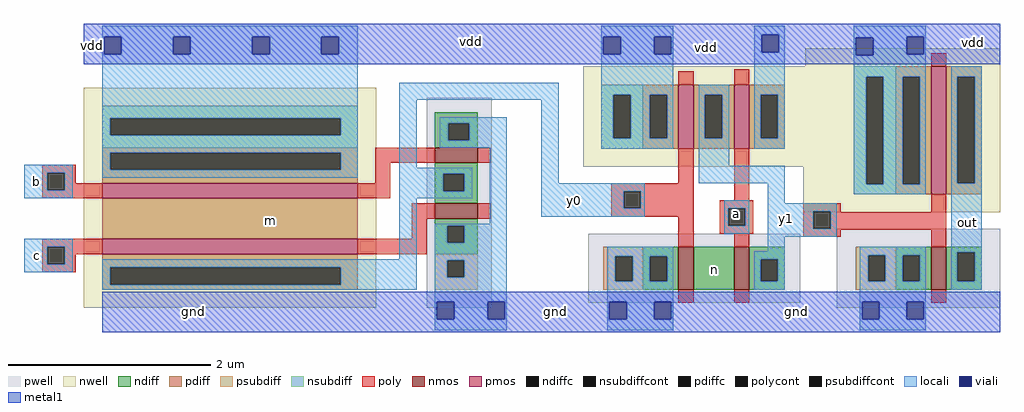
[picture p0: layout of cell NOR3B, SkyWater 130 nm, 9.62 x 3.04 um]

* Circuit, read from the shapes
.subckt NOR3B a b c gnd m n out vdd y0 y1
XM1 y0 c gnd gnd sky130_fd_pr__nfet_01v8 w=0.42 l=0.15
XM2 gnd b y0 gnd sky130_fd_pr__nfet_01v8 w=0.42 l=0.15
XM3 n y0 gnd gnd sky130_fd_pr__nfet_01v8 w=0.42 l=0.15
XM4 y1 a n gnd sky130_fd_pr__nfet_01v8 w=0.42 l=0.15
XM5 out y1 gnd gnd sky130_fd_pr__nfet_01v8 w=0.42 l=0.15
XM6 m c y0 vdd sky130_fd_pr__pfet_01v8 w=2.52 l=0.15
XM7 vdd b m vdd sky130_fd_pr__pfet_01v8 w=2.52 l=0.15
XM8 y1 y0 vdd vdd sky130_fd_pr__pfet_01v8 w=0.63 l=0.15
XM9 vdd a y1 vdd sky130_fd_pr__pfet_01v8 w=0.63 l=0.15
XM10 out y1 vdd vdd sky130_fd_pr__pfet_01v8 w=1.26 l=0.15
.ends

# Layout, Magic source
magic
tech sky130A
<< nwell >>
rect 693 220 885 238
rect -18 -18 270 199
rect 474 121 885 220
rect 691 76 885 121
<< pwell >>
rect 320 -18 384 189
rect 479 -13 688 55
rect 724 -18 885 60
<< nmos >>
rect 328 125 370 140
rect 328 70 370 85
rect 568 0 583 42
rect 623 0 638 42
rect 817 0 832 42
<< pmos >>
rect 568 139 583 202
rect 623 139 638 202
rect 0 90 252 105
rect 817 94 832 220
rect 0 35 252 50
<< ndiff >>
rect 328 164 370 175
rect 328 147 341 164
rect 362 147 370 164
rect 328 140 370 147
rect 328 114 370 125
rect 328 97 336 114
rect 357 97 370 114
rect 328 85 370 97
rect 328 63 370 70
rect 328 46 340 63
rect 357 46 370 63
rect 328 35 370 46
rect 533 33 568 42
rect 533 8 540 33
rect 557 8 568 33
rect 533 0 568 8
rect 583 0 623 42
rect 638 30 673 42
rect 638 8 649 30
rect 666 8 673 30
rect 638 0 673 8
rect 782 34 817 42
rect 782 8 789 34
rect 806 8 817 34
rect 782 0 817 8
rect 832 37 867 42
rect 832 8 843 37
rect 860 8 867 37
rect 832 0 867 8
<< pdiff >>
rect 782 210 817 220
rect 533 192 568 202
rect 533 149 540 192
rect 557 149 568 192
rect 0 135 252 140
rect 0 118 8 135
rect 235 118 252 135
rect 0 105 252 118
rect 533 139 568 149
rect 583 192 623 202
rect 583 149 594 192
rect 611 149 623 192
rect 583 139 623 149
rect 638 192 673 202
rect 638 149 649 192
rect 666 149 673 192
rect 638 139 673 149
rect 0 50 252 90
rect 782 104 789 210
rect 806 104 817 210
rect 782 94 817 104
rect 832 210 867 220
rect 832 105 843 210
rect 860 105 867 210
rect 832 94 867 105
rect 0 22 252 35
rect 0 5 8 22
rect 235 5 252 22
rect 0 0 252 5
<< ndiffc >>
rect 341 147 362 164
rect 336 97 357 114
rect 340 46 357 63
rect 540 8 557 33
rect 649 8 666 30
rect 789 8 806 34
rect 843 8 860 37
<< pdiffc >>
rect 540 149 557 192
rect 8 118 235 135
rect 594 149 611 192
rect 649 149 666 192
rect 789 104 806 210
rect 843 105 860 210
rect 8 5 235 22
<< psubdiff >>
rect 328 29 370 35
rect 328 12 340 29
rect 357 12 370 29
rect 328 0 370 12
rect 494 33 533 42
rect 494 8 506 33
rect 523 8 533 33
rect 494 0 533 8
rect 743 34 782 42
rect 743 8 755 34
rect 772 8 782 34
rect 743 0 782 8
<< nsubdiff >>
rect 741 210 782 220
rect 492 192 533 202
rect 0 169 252 181
rect 0 152 8 169
rect 235 152 252 169
rect 0 140 252 152
rect 492 149 504 192
rect 521 149 533 192
rect 492 139 533 149
rect 741 104 753 210
rect 770 104 782 210
rect 741 94 782 104
<< psubdiffcont >>
rect 340 12 357 29
rect 506 8 523 33
rect 755 8 772 34
<< nsubdiffcont >>
rect 8 152 235 169
rect 504 149 521 192
rect 753 104 770 210
<< poly >>
rect 817 220 832 233
rect 568 202 583 215
rect 623 202 638 217
rect -59 115 -26 123
rect -59 98 -54 115
rect -37 105 -26 115
rect 269 125 328 140
rect 370 125 383 140
rect 269 105 284 125
rect -37 98 0 105
rect -59 90 0 98
rect 252 90 284 105
rect 568 105 583 139
rect 502 97 583 105
rect 305 70 328 85
rect 370 70 383 85
rect 502 80 514 97
rect 531 80 583 97
rect 623 88 638 139
rect 502 72 583 80
rect 305 50 320 70
rect -59 42 0 50
rect -59 25 -54 42
rect -37 35 0 42
rect 252 35 320 50
rect 568 42 583 72
rect 609 80 642 88
rect 609 63 617 80
rect 634 63 642 80
rect 609 55 642 63
rect 691 77 728 85
rect 691 60 701 77
rect 718 76 728 77
rect 817 76 832 94
rect 718 60 832 76
rect 691 59 832 60
rect 623 42 638 55
rect 691 52 728 59
rect 817 42 832 59
rect -37 25 -26 35
rect -59 17 -26 25
rect 568 -13 583 0
rect 623 -13 638 0
rect 817 -13 832 0
<< polycont >>
rect -54 98 -37 115
rect 514 80 531 97
rect -54 25 -37 42
rect 617 63 634 80
rect 701 60 718 77
<< locali >>
rect 0 249 252 260
rect 0 232 2 249
rect 19 232 70 249
rect 87 232 148 249
rect 165 232 216 249
rect 233 232 252 249
rect 0 169 252 232
rect 492 249 563 260
rect 492 232 494 249
rect 511 232 544 249
rect 561 232 563 249
rect 0 152 8 169
rect 235 152 252 169
rect 0 135 252 152
rect -77 115 -29 123
rect -77 98 -54 115
rect -37 98 -29 115
rect 0 118 8 135
rect 235 118 252 135
rect 0 110 252 118
rect 293 187 450 204
rect 293 120 310 187
rect 333 164 399 170
rect 333 147 341 164
rect 362 147 399 164
rect 333 140 399 147
rect 293 114 365 120
rect -77 90 -29 98
rect 293 97 336 114
rect 357 97 365 114
rect 293 90 365 97
rect -77 42 -29 50
rect -77 25 -54 42
rect -37 25 -29 42
rect 293 30 310 90
rect 382 65 399 140
rect 433 105 450 187
rect 492 192 563 232
rect 643 251 673 260
rect 643 234 650 251
rect 667 234 673 251
rect 492 149 504 192
rect 521 149 540 192
rect 557 149 563 192
rect 492 139 563 149
rect 588 192 618 202
rect 588 149 594 192
rect 611 149 618 192
rect 588 122 618 149
rect 643 192 673 234
rect 643 149 649 192
rect 666 149 673 192
rect 643 139 673 149
rect 741 249 812 260
rect 741 248 793 249
rect 741 231 743 248
rect 760 232 793 248
rect 810 232 812 249
rect 760 231 812 232
rect 741 210 812 231
rect 588 105 673 122
rect 433 97 535 105
rect 433 80 514 97
rect 531 80 535 97
rect 433 72 535 80
rect 613 80 638 88
rect -77 17 -29 25
rect 0 22 310 30
rect 0 5 8 22
rect 235 5 310 22
rect 0 0 310 5
rect 328 63 399 65
rect 328 46 340 63
rect 357 46 399 63
rect 613 63 617 80
rect 634 63 638 80
rect 613 55 638 63
rect 656 85 673 105
rect 741 104 753 210
rect 770 104 789 210
rect 806 104 812 210
rect 741 94 812 104
rect 837 210 867 220
rect 837 105 843 210
rect 860 105 867 210
rect 656 77 724 85
rect 656 60 701 77
rect 718 60 724 77
rect 328 29 399 46
rect 656 52 724 60
rect 328 12 340 29
rect 357 12 399 29
rect 328 -12 399 12
rect 328 -29 330 -12
rect 347 -29 380 -12
rect 397 -29 399 -12
rect 328 -40 399 -29
rect 498 33 563 42
rect 656 38 673 52
rect 498 8 506 33
rect 523 8 540 33
rect 557 8 563 33
rect 498 -12 563 8
rect 643 30 673 38
rect 643 8 649 30
rect 666 8 673 30
rect 643 0 673 8
rect 747 34 812 42
rect 747 8 755 34
rect 772 8 789 34
rect 806 8 812 34
rect 498 -29 500 -12
rect 517 -29 544 -12
rect 561 -29 563 -12
rect 498 -40 563 -29
rect 747 -12 812 8
rect 837 37 867 105
rect 837 8 843 37
rect 860 8 867 37
rect 837 0 867 8
rect 747 -29 749 -12
rect 766 -29 793 -12
rect 810 -29 812 -12
rect 747 -40 812 -29
<< viali >>
rect 2 232 19 249
rect 70 232 87 249
rect 148 232 165 249
rect 216 232 233 249
rect 494 232 511 249
rect 544 232 561 249
rect 650 234 667 251
rect 743 231 760 248
rect 793 232 810 249
rect 330 -29 347 -12
rect 380 -29 397 -12
rect 500 -29 517 -12
rect 544 -29 561 -12
rect 749 -29 766 -12
rect 793 -29 810 -12
<< metal1 >>
rect -18 251 885 262
rect -18 249 650 251
rect -18 232 2 249
rect 19 232 70 249
rect 87 232 148 249
rect 165 232 216 249
rect 233 232 494 249
rect 511 232 544 249
rect 561 234 650 249
rect 667 249 885 251
rect 667 248 793 249
rect 667 234 743 248
rect 561 232 743 234
rect -18 231 743 232
rect 760 232 793 248
rect 810 232 885 249
rect 760 231 885 232
rect -18 222 885 231
rect 0 -12 885 -2
rect 0 -29 330 -12
rect 347 -29 380 -12
rect 397 -29 500 -12
rect 517 -29 544 -12
rect 561 -29 749 -12
rect 766 -29 793 -12
rect 810 -29 885 -12
rect 0 -42 885 -29
<< labels >>
rlabel metal1 428 -36 465 -8 1 gnd
rlabel metal1 666 -36 703 -8 1 gnd
rlabel metal1 72 -36 109 -8 1 gnd
rlabel metal1 -14 229 -4 253 1 vdd
rlabel metal1 344 232 384 257 1 vdd
rlabel metal1 576 226 616 251 1 vdd
rlabel metal1 839 231 879 256 1 vdd
rlabel locali 616 67 634 84 1 a
rlabel locali -74 98 -56 115 1 b
rlabel locali -73 25 -55 42 1 c
rlabel locali 844 58 862 75 1 out
rlabel locali 456 79 475 97 1 y0
rlabel locali 665 61 684 79 1 y1
rlabel pdiff 155 59 176 78 1 m
rlabel ndiff 593 10 614 29 1 n
<< end >>
